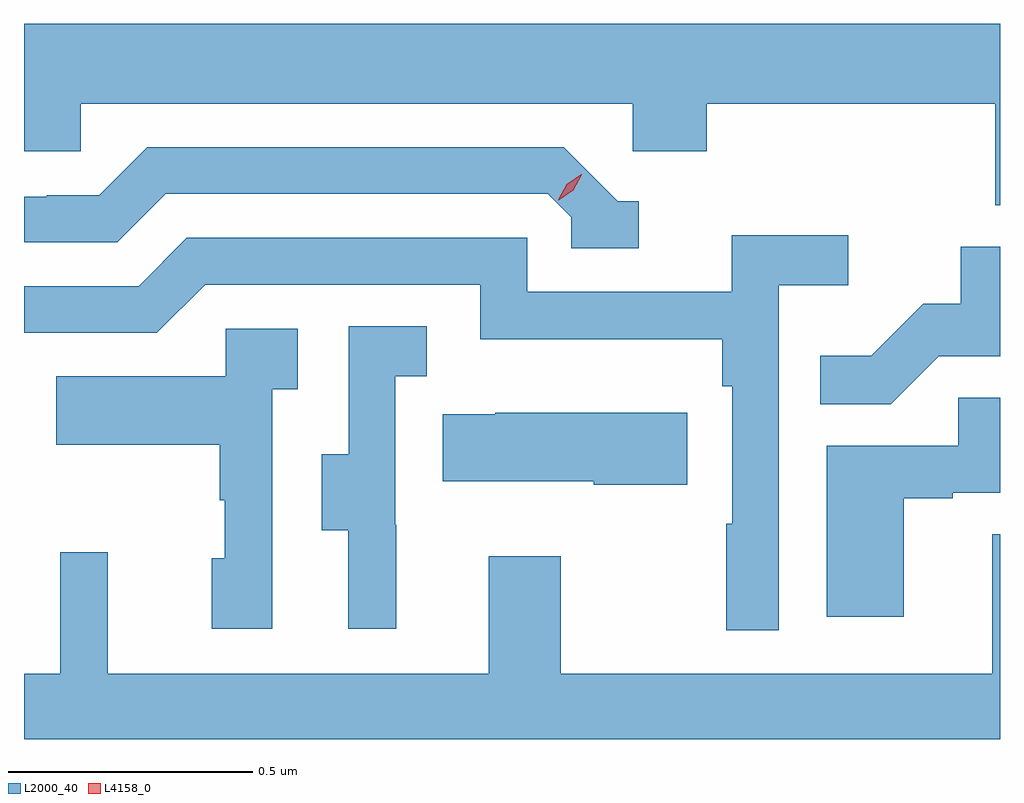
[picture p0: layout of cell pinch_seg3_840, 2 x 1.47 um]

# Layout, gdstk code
import gdstk
lib = gdstk.Library(unit=1e-6, precision=1e-09)
def P(c, l, *ps):  # polygons
    for p in ps: c.add(gdstk.Polygon(p, *l))
L2000_40 = (2000, 40)
L4158_0 = (4158, 0)

pinch_seg3_840 = lib.new_cell('pinch_seg3_840')
P(pinch_seg3_840, L2000_40, [(847.683,722.392),(845.683,722.392),(845.683,722.13),(845.799,722.13),(845.799,722.228),(846.93,722.228),(846.93,722.13),(847.082,722.13),(847.082,722.228),(847.673,722.228),(847.673,722.02),(847.683,722.02)],
  [(846.943,722.028),(846.9,722.028),(846.789,722.139),(845.936,722.139),(845.837,722.04),(845.73,722.04),(845.73,722.037),(845.683,722.037),(845.683,721.944),(845.874,721.944),(845.973,722.043),(846.756,722.043),(846.804,721.995),(846.804,721.932),(846.943,721.932)],
  [(847.23,721.856),(847.372,721.856),(847.372,721.958),(847.133,721.958),(847.133,721.842),(846.714,721.842),(846.714,721.953),(846.017,721.953),(845.918,721.854),(845.683,721.854),(845.683,721.758),(845.955,721.758),(846.054,721.857),(846.618,721.857),(846.618,721.745),(847.114,721.745),(847.114,721.649),(847.134,721.649),(847.134,721.367),(847.122,721.367),(847.122,721.149),(847.23,721.149)],
  [(847.557,721.71),(847.683,721.71),(847.683,721.935),(847.603,721.935),(847.603,721.818),(847.526,721.818),(847.419,721.711),(847.315,721.711),(847.315,721.612),(847.459,721.612)],
  [(846.446,721.365),(846.444,721.365),(846.444,721.669),(846.508,721.669),(846.508,721.772),(846.348,721.772),(846.348,721.509),(846.293,721.509),(846.293,721.354),(846.347,721.354),(846.347,721.152),(846.446,721.152)],
  [(846.192,721.643),(846.244,721.643),(846.244,721.767),(846.096,721.767),(846.096,721.669),(845.749,721.669),(845.749,721.529),(846.084,721.529),(846.084,721.415),(846.094,721.415),(846.094,721.296),(846.068,721.296),(846.068,721.152),(846.192,721.152)],
  [(847.486,721.419),(847.586,721.419),(847.586,721.431),(847.683,721.431),(847.683,721.625),(847.597,721.625),(847.597,721.527),(847.328,721.527),(847.328,721.176),(847.486,721.176)],
  [(847.042,721.594),(846.649,721.594),(846.649,721.591),(846.541,721.591),(846.541,721.454),(846.851,721.454),(846.851,721.447),(847.042,721.447)],
  [(847.683,721.346),(847.667,721.346),(847.667,721.06),(846.783,721.06),(846.783,721.3),(846.635,721.3),(846.635,721.06),(845.855,721.06),(845.855,721.309),(845.757,721.309),(845.757,721.06),(845.683,721.06),(845.683,720.925),(847.683,720.925)])
P(pinch_seg3_840, L4158_0, [(846.778,722.03),(846.778,722.031),(846.795,722.063),(846.825,722.083),(846.826,722.083),(846.826,722.082),(846.809,722.05),(846.779,722.03)])

lib.write_gds('pinch_seg3_840.gds')
